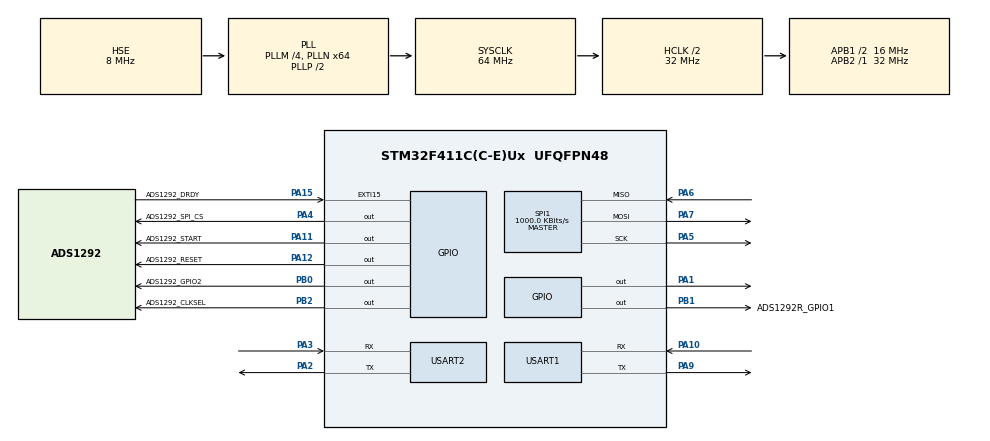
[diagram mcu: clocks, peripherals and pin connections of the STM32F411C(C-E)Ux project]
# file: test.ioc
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Mcu.Family=STM32F4
Mcu.Name=STM32F411C(C-E)Ux
Mcu.Package=UFQFPN48
NVIC.EXTI15_10_IRQn=true\:0\:0\:false\:false\:true\:true\:true\:true
NVIC.PriorityGroup=NVIC_PRIORITYGROUP_4
PA1.Signal=GPIO_Output
PA10.Mode=Asynchronous
PA10.Signal=USART1_RX
PA11.GPIO_Label=ADS1292_START
PA11.GPIO_Speed=GPIO_SPEED_FREQ_LOW
PA11.PinState=GPIO_PIN_SET
PA11.Signal=GPIO_Output
PA12.GPIO_Label=ADS1292_RESET
PA12.PinState=GPIO_PIN_SET
PA12.Signal=GPIO_Output
PA13.Mode=Serial_Wire
PA13.Signal=SYS_JTMS-SWDIO
PA14.Mode=Serial_Wire
PA14.Signal=SYS_JTCK-SWCLK
PA15.GPIO_Label=ADS1292_DRDY
PA15.GPIO_ModeDefaultEXTI=GPIO_MODE_IT_FALLING
PA15.Signal=GPXTI15
PA2.Mode=Asynchronous
PA2.Signal=USART2_TX
PA3.Mode=Asynchronous
PA3.Signal=USART2_RX
PA4.GPIO_Label=ADS1292_SPI_CS
PA4.Signal=GPIO_Output
PA5.Mode=Full_Duplex_Master
PA5.Signal=SPI1_SCK
PA6.Mode=Full_Duplex_Master
PA6.Signal=SPI1_MISO
PA7.Mode=Full_Duplex_Master
PA7.Signal=SPI1_MOSI
PA9.Mode=Asynchronous
PA9.Signal=USART1_TX
PB0.GPIO_Label=ADS1292_GPIO2
PB0.Signal=GPIO_Output
PB1.GPIO_Label=ADS1292R_GPIO1
PB1.Signal=GPIO_Output
PB2.GPIO_Label=ADS1292_CLKSEL
PB2.PinState=GPIO_PIN_SET
PB2.Signal=GPIO_Output
PC14-OSC32_IN.Mode=LSE-External-Oscillator
PC14-OSC32_IN.Signal=RCC_OSC32_IN
PC15-OSC32_OUT.Mode=LSE-External-Oscillator
PC15-OSC32_OUT.Signal=RCC_OSC32_OUT
PH0\ -\ OSC_IN.Mode=HSE-External-Oscillator
PH0\ -\ OSC_IN.Signal=RCC_OSC_IN
PH1\ -\ OSC_OUT.Mode=HSE-External-Oscillator
PH1\ -\ OSC_OUT.Signal=RCC_OSC_OUT
ProjectManager.HeapSize=0x200
ProjectManager.StackSize=0x400
ProjectManager.TargetToolchain=CMake
RCC.48MHZClocksFreq_Value=32000000
RCC.AHBCLKDivider=RCC_SYSCLK_DIV2
RCC.AHBFreq_Value=32000000
RCC.APB1CLKDivider=RCC_HCLK_DIV2
RCC.APB1Freq_Value=16000000
RCC.APB1TimFreq_Value=32000000
RCC.APB2Freq_Value=32000000
RCC.APB2TimFreq_Value=32000000
RCC.CortexFreq_Value=32000000
RCC.HCLKFreq_Value=32000000
RCC.HSE_VALUE=8000000
RCC.HSI_VALUE=16000000
RCC.PLLM=4
RCC.PLLN=64
RCC.PLLSourceVirtual=RCC_PLLSOURCE_HSE
RCC.SYSCLKFreq_VALUE=64000000
RCC.SYSCLKSource=RCC_SYSCLKSOURCE_PLLCLK
RCC.VCOOutputFreq_Value=128000000
SPI1.BaudRatePrescaler=SPI_BAUDRATEPRESCALER_32
SPI1.CLKPhase=SPI_PHASE_2EDGE
SPI1.CalculateBaudRate=1000.0 KBits/s
SPI1.Direction=SPI_DIRECTION_2LINES
SPI1.Mode=SPI_MODE_MASTER
SPI1.VirtualType=VM_MASTER
USART1.VirtualMode=VM_ASYNC
USART2.VirtualMode=VM_ASYNC
board=custom

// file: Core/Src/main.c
/* USER CODE BEGIN Header */
/**
  ******************************************************************************
  * @file           : main.c
  * @brief          : Main program body
  ******************************************************************************
  * @attention
  *
  * Copyright (c) 2026 STMicroelectronics.
  * All rights reserved.
  *
  * This software is licensed under terms that can be found in the LICENSE file
  * in the root directory of this software component.
  * If no LICENSE file comes with this software, it is provided AS-IS.
  *
  ******************************************************************************
  */
/* USER CODE END Header */
#include "main.h"

/* USER CODE BEGIN Includes */
#include "ads1292r.h"
#include "stm32f411xe.h"
#include <stdint.h>
#include "vofa.h"

/* USER CODE END Includes */

/* USER CODE BEGIN PTD */
float data[2]={2.3f, 3.4f};
uint8_t reg_data;
/* USER CODE END PTD */

SPI_HandleTypeDef hspi1;

UART_HandleTypeDef huart1;
UART_HandleTypeDef huart2;

void SystemClock_Config(void);
static void MX_GPIO_Init(void);
static void MX_SPI1_Init(void);
static void MX_USART1_UART_Init(void);
static void MX_USART2_UART_Init(void);
/* USER CODE BEGIN PFP */
// 快速测试 ADS1292R 通信是否正常

/* USER CODE END PFP */

/* USER CODE BEGIN 0 */
void ADS1292_ParseData(void)
{
    // 1. 解析原始数据
    ADS_Ch1_Raw = ((int32_t)ADS_Data_Buf[3] << 16) | ((int32_t)ADS_Data_Buf[4] << 8) | ADS_Data_Buf[5];
    ADS_Ch2_Raw = ((int32_t)ADS_Data_Buf[6] << 16) | ((int32_t)ADS_Data_Buf[7] << 8) | ADS_Data_Buf[8];

    // 符号位扩展
    if(ADS_Ch1_Raw & 0x800000) ADS_Ch1_Raw |= 0xFF000000;
    if(ADS_Ch2_Raw & 0x800000) ADS_Ch2_Raw |= 0xFF000000;
    // 转电压
    ADS_Ch1_Volt = (float)ADS_Ch1_Raw / 8388607.0f * 2.42f/6.0f+0.4;
    ADS_Ch2_Volt = (float)ADS_Ch2_Raw / 8388607.0f * 2.42f/6.0f;
}
void ADS1292R_Hard_Reset(void)
{
  // 拉低RST引脚10ms（复位）
  HAL_GPIO_WritePin(ADS1292_RESET_GPIO_Port, ADS1292_RESET_Pin, GPIO_PIN_RESET);
  HAL_Delay(10);
  // 拉高RST引脚，等待芯片稳定
  HAL_GPIO_WritePin(ADS1292_RESET_GPIO_Port, ADS1292_RESET_Pin, GPIO_PIN_SET);
  HAL_Delay(100); // 等待100ms，确保芯片完成初始化
}
uint8_t ADS1292R_Read_Reg(uint8_t reg_addr)
{
  uint8_t reg_data = 0xFF;       // 默认返回0xFF（失败）
  uint8_t dummy = 0x00; // dummy字节（SPI全双工必须）
  uint8_t txCmd[2];
  // 构造RREG指令：高4位=0x2（RREG）+ 低4位=寄存器地址
  txCmd[0] = 0x20 | (reg_addr & 0x1F);
  txCmd[1] = 0x00;   // 读 1 个寄存器

  // 1. 拉低CS，选中芯片
  HAL_GPIO_WritePin(GPIOA, ADS1292_SPI_CS_Pin, GPIO_PIN_RESET);
  HAL_Delay(1); // 延时稳定时序

  // 2. 发送读指令（opcode1+opcode2）
  HAL_SPI_Transmit(&hspi1, txCmd, 2, 10);

  HAL_Delay(1); // 延时稳定时序

  // 3. 发送dummy字节，同时读取寄存器数据（SPI全双工核心）
  HAL_SPI_TransmitReceive(&hspi1, &dummy, &reg_data, 1, 10);

  // 4. 拉高CS，结束通信
  HAL_GPIO_WritePin(GPIOA, ADS1292_SPI_CS_Pin, GPIO_PIN_SET);

  return reg_data;
}
uint8_t ads_id;
/* USER CODE END 0 */

int main(void)
{

  /* MCU Configuration--------------------------------------------------------*/

  /* Reset of all peripherals, Initializes the Flash interface and the Systick. */
  HAL_Init();

  /* Configure the system clock */
  SystemClock_Config();

  /* Initialize all configured peripherals */
  MX_GPIO_Init();
  MX_SPI1_Init();
  MX_USART1_UART_Init();
  MX_USART2_UART_Init();
  /* USER CODE BEGIN 2 */
  ads1292r_init(); // Initialize the ADS1292R sensor
  //ADS1292R_Hard_Reset();
  //ads1292r_transmit(0x11);
  //ads_id = ADS1292R_Read_Reg(0x01);
  /* USER CODE END 2 */

  /* Infinite loop */
  while (1)
  {
    if(ADS_Data_Ready==1)
    {
      HAL_SPI_TransmitReceive(&hspi1, (uint8_t*)"\x00\x00\x00\x00\x00\x00\x00\x00\x00", ADS_Data_Buf, 9, HAL_MAX_DELAY);
      ADS_Data_Ready = 0; // 清除就绪标志
    }
    HAL_Delay(1);
    ADS1292_ParseData();
    //float data[2] = {ADS_Ch1_Volt, ADS_Ch2_Volt};

    sendfloatdata(data, 2);
   // 读取寄存器测试通信/
  }
  /* USER CODE END 3 */
}

void SystemClock_Config(void)
{
  RCC_OscInitTypeDef RCC_OscInitStruct = {0};
  RCC_ClkInitTypeDef RCC_ClkInitStruct = {0};

  /** Configure the main internal regulator output voltage
  */
  __HAL_RCC_PWR_CLK_ENABLE();
  __HAL_PWR_VOLTAGESCALING_CONFIG(PWR_REGULATOR_VOLTAGE_SCALE1);

  /** Initializes the RCC Oscillators according to the specified parameters
  * in the RCC_OscInitTypeDef structure.
  */
  RCC_OscInitStruct.OscillatorType = RCC_OSCILLATORTYPE_HSE;
  RCC_OscInitStruct.HSEState = RCC_HSE_ON;
  RCC_OscInitStruct.PLL.PLLState = RCC_PLL_ON;
  RCC_OscInitStruct.PLL.PLLSource = RCC_PLLSOURCE_HSE;
  RCC_OscInitStruct.PLL.PLLM = 4;
  RCC_OscInitStruct.PLL.PLLN = 64;
  RCC_OscInitStruct.PLL.PLLP = RCC_PLLP_DIV2;
  RCC_OscInitStruct.PLL.PLLQ = 4;
  if (HAL_RCC_OscConfig(&RCC_OscInitStruct) != HAL_OK)
  {
    Error_Handler();
  }

  /** Initializes the CPU, AHB and APB buses clocks
  */
  RCC_ClkInitStruct.ClockType = RCC_CLOCKTYPE_HCLK|RCC_CLOCKTYPE_SYSCLK
                              |RCC_CLOCKTYPE_PCLK1|RCC_CLOCKTYPE_PCLK2;
  RCC_ClkInitStruct.SYSCLKSource = RCC_SYSCLKSOURCE_PLLCLK;
  RCC_ClkInitStruct.AHBCLKDivider = RCC_SYSCLK_DIV2;
  RCC_ClkInitStruct.APB1CLKDivider = RCC_HCLK_DIV2;
  RCC_ClkInitStruct.APB2CLKDivider = RCC_HCLK_DIV1;

  if (HAL_RCC_ClockConfig(&RCC_ClkInitStruct, FLASH_LATENCY_1) != HAL_OK)
  {
    Error_Handler();
  }
}

static void MX_SPI1_Init(void)
{

  /* SPI1 parameter configuration*/
  hspi1.Instance = SPI1;
  hspi1.Init.Mode = SPI_MODE_MASTER;
  hspi1.Init.Direction = SPI_DIRECTION_2LINES;
  hspi1.Init.DataSize = SPI_DATASIZE_8BIT;
  hspi1.Init.CLKPolarity = SPI_POLARITY_LOW;
  hspi1.Init.CLKPhase = SPI_PHASE_2EDGE;
  hspi1.Init.NSS = SPI_NSS_SOFT;
  hspi1.Init.BaudRatePrescaler = SPI_BAUDRATEPRESCALER_32;
  hspi1.Init.FirstBit = SPI_FIRSTBIT_MSB;
  hspi1.Init.TIMode = SPI_TIMODE_DISABLE;
  hspi1.Init.CRCCalculation = SPI_CRCCALCULATION_DISABLE;
  hspi1.Init.CRCPolynomial = 10;
  if (HAL_SPI_Init(&hspi1) != HAL_OK)
  {
    Error_Handler();
  }

}

static void MX_USART1_UART_Init(void)
{

  huart1.Instance = USART1;
  huart1.Init.BaudRate = 115200;
  huart1.Init.WordLength = UART_WORDLENGTH_8B;
  huart1.Init.StopBits = UART_STOPBITS_1;
  huart1.Init.Parity = UART_PARITY_NONE;
  huart1.Init.Mode = UART_MODE_TX_RX;
  huart1.Init.HwFlowCtl = UART_HWCONTROL_NONE;
  huart1.Init.OverSampling = UART_OVERSAMPLING_16;
  if (HAL_UART_Init(&huart1) != HAL_OK)
  {
    Error_Handler();
  }

}

static void MX_USART2_UART_Init(void)
{

  huart2.Instance = USART2;
  huart2.Init.BaudRate = 115200;
  huart2.Init.WordLength = UART_WORDLENGTH_8B;
  huart2.Init.StopBits = UART_STOPBITS_1;
  huart2.Init.Parity = UART_PARITY_NONE;
  huart2.Init.Mode = UART_MODE_TX_RX;
  huart2.Init.HwFlowCtl = UART_HWCONTROL_NONE;
  huart2.Init.OverSampling = UART_OVERSAMPLING_16;
  if (HAL_UART_Init(&huart2) != HAL_OK)
  {
    Error_Handler();
  }

}

static void MX_GPIO_Init(void)
{
  GPIO_InitTypeDef GPIO_InitStruct = {0};

  /* GPIO Ports Clock Enable */
  __HAL_RCC_GPIOC_CLK_ENABLE();
  __HAL_RCC_GPIOH_CLK_ENABLE();
  __HAL_RCC_GPIOA_CLK_ENABLE();
  __HAL_RCC_GPIOB_CLK_ENABLE();

  /*Configure GPIO pin Output Level */
  HAL_GPIO_WritePin(GPIOA, GPIO_PIN_1|ADS1292_SPI_CS_Pin, GPIO_PIN_RESET);

  /*Configure GPIO pin Output Level */
  HAL_GPIO_WritePin(GPIOB, ADS1292_GPIO2_Pin|ADS1292R_GPIO1_Pin, GPIO_PIN_RESET);

  /*Configure GPIO pin Output Level */
  HAL_GPIO_WritePin(ADS1292_CLKSEL_GPIO_Port, ADS1292_CLKSEL_Pin, GPIO_PIN_SET);

  /*Configure GPIO pin Output Level */
  HAL_GPIO_WritePin(GPIOA, ADS1292_START_Pin|ADS1292_RESET_Pin, GPIO_PIN_SET);

  /*Configure GPIO pins : PA1 ADS1292_SPI_CS_Pin ADS1292_START_Pin ADS1292_RESET_Pin */
  GPIO_InitStruct.Pin = GPIO_PIN_1|ADS1292_SPI_CS_Pin|ADS1292_START_Pin|ADS1292_RESET_Pin;
  GPIO_InitStruct.Mode = GPIO_MODE_OUTPUT_PP;
  GPIO_InitStruct.Pull = GPIO_NOPULL;
  GPIO_InitStruct.Speed = GPIO_SPEED_FREQ_LOW;
  HAL_GPIO_Init(GPIOA, &GPIO_InitStruct);

  /*Configure GPIO pins : ADS1292_GPIO2_Pin ADS1292R_GPIO1_Pin ADS1292_CLKSEL_Pin */
  GPIO_InitStruct.Pin = ADS1292_GPIO2_Pin|ADS1292R_GPIO1_Pin|ADS1292_CLKSEL_Pin;
  GPIO_InitStruct.Mode = GPIO_MODE_OUTPUT_PP;
  GPIO_InitStruct.Pull = GPIO_NOPULL;
  GPIO_InitStruct.Speed = GPIO_SPEED_FREQ_LOW;
  HAL_GPIO_Init(GPIOB, &GPIO_InitStruct);

  /*Configure GPIO pin : ADS1292_DRDY_Pin */
  GPIO_InitStruct.Pin = ADS1292_DRDY_Pin;
  GPIO_InitStruct.Mode = GPIO_MODE_IT_FALLING;
  GPIO_InitStruct.Pull = GPIO_NOPULL;
  HAL_GPIO_Init(ADS1292_DRDY_GPIO_Port, &GPIO_InitStruct);

  /* EXTI interrupt init*/
  HAL_NVIC_SetPriority(EXTI15_10_IRQn, 0, 0);
  HAL_NVIC_EnableIRQ(EXTI15_10_IRQn);

}

void Error_Handler(void)
{
  __disable_irq();
  while (1)
  {
  }
}
